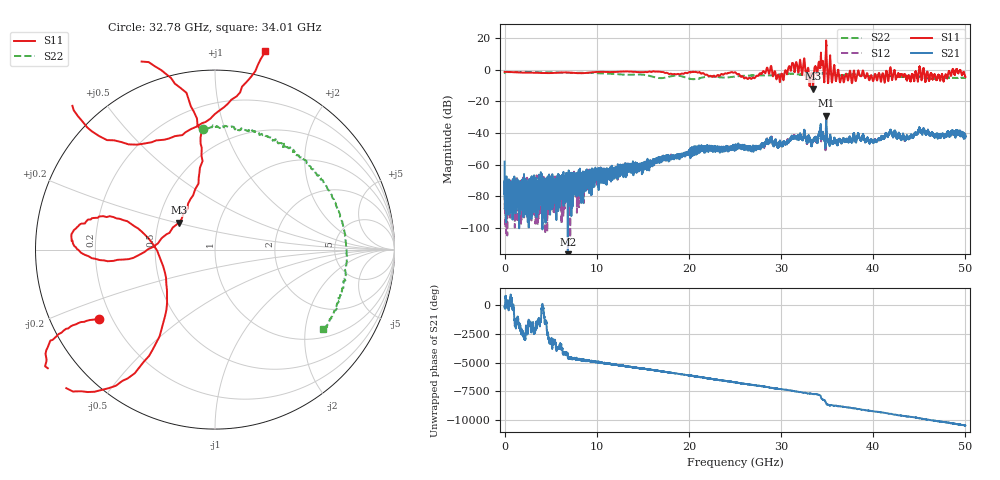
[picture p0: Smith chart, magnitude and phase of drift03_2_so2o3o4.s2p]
!Created with skrf (http://scikit-rf.org).
# Hz S RI R 50.0
!freq ReS11 ImS11 ReS21 ImS21 ReS12 ImS12 ReS22 ImS22
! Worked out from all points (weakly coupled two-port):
!   10001 points, 300 kHz to 50 GHz, reference 50 ohm
!   highest |S21| = -29.04 dB at 34.89 GHz (marker M1); lowest = -121.2 dB at 6.86 GHz (marker M2)
!   lowest |S11| = -12.0 dB at 33.47 GHz (marker M3), VSWR 1.67, Z = 32 + j10.2 ohm
!   |S11| at or under -10 dB: 33.07946 GHz to 33.10193 GHz (22.47 MHz wide, 0.0679 % of centre); 33.44128 GHz to 33.49146 GHz (50.18 MHz wide, 0.15 % of centre)
!   |S22| runs from -6.0 to -1.3 dB; largest |S21 - S12| = 0.007
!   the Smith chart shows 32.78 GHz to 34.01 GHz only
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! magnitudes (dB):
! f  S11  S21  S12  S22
! 300 kHz  -1.3  -58.0  -71.3  -2.0
! 330.3 MHz  -1.3  -81.4  -78.5  -1.4
! 6.86 GHz  -1.7  -121.2  -69.5  -2.0
! 8.335 GHz  -2.2  -65.9  -71.7  -1.9
! 16.67 GHz  -1.2  -57.5  -57.4  -5.2
! 25 GHz  -1.5  -47.9  -48.8  -4.3
! 26.59 GHz  -5.0  -49.6  -49.6  -3.7
! 28.73 GHz  -2.4  -45.3  -45.4  -3.5
! 30.06 GHz  -2.5  -48.4  -48.1  -2.9
! 31.08 GHz  -0.5  -42.8  -43.5  -2.5
! 31.88 GHz  -1.8  -43.0  -42.4  -2.9
! 33.34 GHz  -2.2  -47.2  -47.2  -2.9
! 33.47 GHz  -12.0  -44.3  -45.4  -2.8
! 34.29 GHz  4.6  -35.4  -36.1  -2.4
! 34.89 GHz  18.5  -29.0  -30.4  -2.5
! 36.6 GHz  -3.6  -45.6  -45.8  -3.6
! 40.18 GHz  -2.7  -45.0  -44.5  -3.7
! 41.67 GHz  -6.3  -41.2  -41.0  -3.7
! 43.67 GHz  -6.8  -41.6  -42.3  -3.9
! 45.22 GHz  -5.7  -39.4  -38.8  -4.6
! 47.06 GHz  -3.2  -41.4  -42.0  -5.1
! 50 GHz  -4.5  -42.6  -42.7  -5.0
